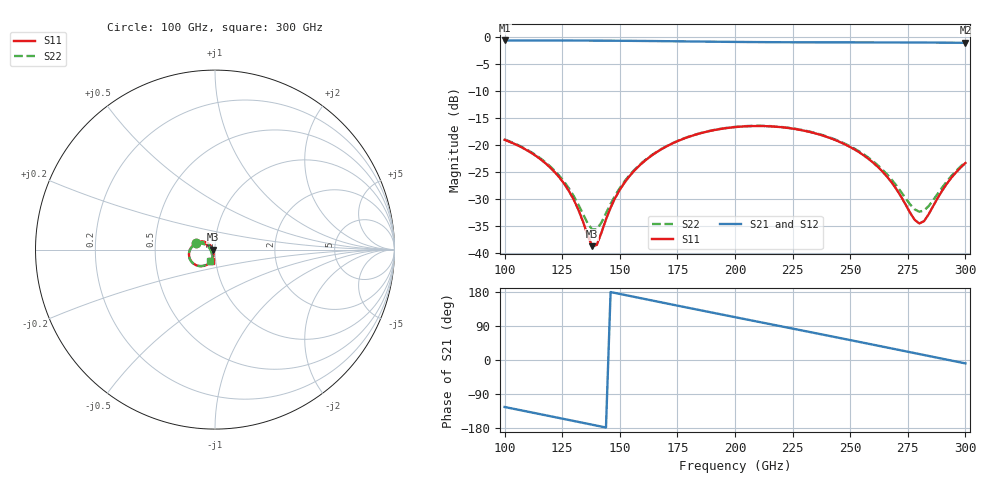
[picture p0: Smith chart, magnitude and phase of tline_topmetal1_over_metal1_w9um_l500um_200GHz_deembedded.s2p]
! Created with skrf 2.2.0 (http://scikit-rf.org).
# GHz S DB R 50.0
! Port[1] = P1
! Port[2] = P2
!freq dBS11 angS11 dBS21 angS21 dBS12 angS12 dBS22 angS22
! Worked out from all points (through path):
!   101 points, 100 GHz to 300 GHz, reference 50 ohm
!   highest |S21| = -0.66 dB at 100 GHz (marker M1); lowest = -1.1 dB at 300 GHz (marker M2)
!   group delay of S21, straight-line fit = 3.4 ps
!   lowest |S11| = -38.8 dB at 138 GHz (marker M3), VSWR 1.02, Z = 48.9 - j0.065 ohm
!   |S11| at or under -10 dB: start of sweep to end of sweep
!   |S22| runs from -35.7 to -16.5 dB; largest |S21 - S12| = 1.1e-14
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100  -19.10 160.0  -0.66 -124.0  -0.66 -124.0  -19.02 162.3
112  -21.62 147.1  -0.67 -138.7  -0.67 -138.7  -21.49 150.4
122  -25.19 138.7  -0.67 -151.0  -0.67 -151.0  -24.94 143.7
128  -28.64 137.1  -0.68 -158.4  -0.68 -158.4  -28.15 144.2
134  -34.23 147.2  -0.69 -165.8  -0.69 -165.8  -32.81 157.2
138  -38.81 -176.7  -0.69 -170.8  -0.69 -170.8  -35.72 -173.2
140  -38.58 -146.2  -0.70 -173.2  -0.70 -173.2  -35.69 -152.4
146  -31.67 -107.8  -0.71 179.3  -0.71 179.3  -30.97 -116.5
152  -27.06 -104.4  -0.73 171.9  -0.73 171.9  -26.82 -109.7
160  -23.29 -108.9  -0.76 162.0  -0.76 162.0  -23.19 -112.1
168  -20.85 -116.2  -0.79 152.1  -0.79 152.1  -20.79 -118.3
184  -17.99 -133.2  -0.86 132.5  -0.86 132.5  -17.95 -134.0
200  -16.73 -150.8  -0.93 113.1  -0.93 113.1  -16.69 -150.9
218  -16.67 -170.6  -0.99 91.3  -0.99 91.3  -16.62 -169.9
234  -17.80 172.4  -1.01 72.0  -1.01 72.0  -17.73 173.8
254  -21.43 153.8  -1.02 47.6  -1.02 47.6  -21.26 156.8
268  -27.00 149.5  -1.03 30.5  -1.03 30.5  -26.48 155.1
278  -33.95 -178.8  -1.04 18.2  -1.04 18.2  -31.98 -174.9
280  -34.60 -161.5  -1.04 15.7  -1.04 15.7  -32.43 -161.7
284  -32.93 -129.4  -1.05 10.8  -1.05 10.8  -31.40 -136.1
292  -27.20 -108.3  -1.07 0.9  -1.07 0.9  -26.78 -114.0
300  -23.39 -108.3  -1.10 -9.0  -1.10 -9.0  -23.22 -111.9
